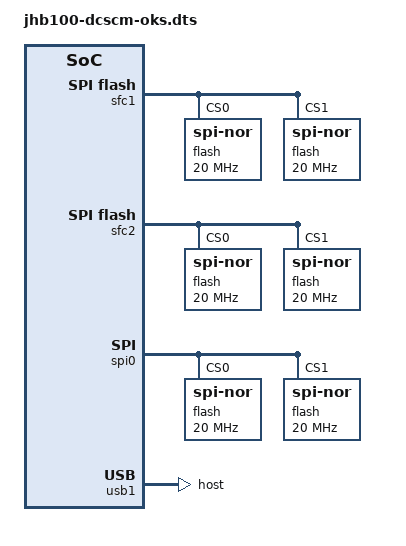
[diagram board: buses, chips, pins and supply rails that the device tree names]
// SPDX-License-Identifier: GPL-2.0 OR MIT
/*
 * Copyright (c) 2026 StarFive Technology Co., Ltd.
 */

#include "jhb100-dcscm.dtsi"
#include "jhb100-evb1-sfc0-flash.dtsi"

/ {
	chosen {
		stdout-path = "serial6:115200n8";
	};
};

&espi0 {
	starfive,vgpio_mode = <1>;
	gpio-line-names  =
										/* Output pins */
		"", "", "", "",							/* VGPIO0-3 */
		"VW_FM_DUAL_PARTITION_N", "VW_FM_STANDALONE_MODE_N",		/* VGPIO4-5 */
		"VW_FM_4S_8S_N_MODE", "VW_FM_NODE_ID_1",			/* VGPIO6-7 */
		"VW_FM_NODE_ID_0", "", "", "", "", "", "", "",			/* VGPIO8-15*/
		"", "", "", "",	"", "", "", "",					/* VGPIO16-23 */
		"", "", "", "",	"", "", "", "",					/* VGPIO23-31 */
										/* Input pins */
		"", "", "", "",							/* VGPIO32-35 */
		"VW_FM_BIOS_POST_CMPLT_N", "VW_CORE_BIOS_DONE_N", "", "",	/* VGPIO36-39 */
		"", "", "", "",	"", "", "", "",					/* VGPIO40-47 */
		"", "", "", "",	"", "", "", "",					/* VGPIO48-55 */
		"", "", "", "",	"", "", "", "";					/* VGPIO56-63 */
};

&espi1 {
	status = "disabled";
};

&espi1_mmbi {
	status = "disabled";
};

&gmac2 {
	status = "disabled";
};

&i2c4_master {
	status = "disabled";
};

&i2c5_master {
	status = "disabled";
};

&i2c8_master {
	status = "disabled";
};

&i3c4 {
	/* status = "okay"; */
};

&i3c5 {
	/* status = "okay"; */
};

&i3c8 {
	/* status = "okay"; */
};

&ltpi0 {
	nlgpio-number = /bits/ 16 <128>;

	llgpo0: virgpio@1000 {
		ngpios = <16>;
		gpo-init-value = <0x100>;
		status = "okay";
	};

	llgpi0: virgpio@1180 {
		ngpios = <16>;
		status = "okay";
	};

	nlgpo0: virgpio@2000 {
		ngpios = <128>;
		/* bit[31:0, 63:32, 95:64, 127,96] */
		gpo-init-value = <0x00400000 0x0E101300 0x03400800 0x0>;
		status = "okay";
	};

	nlgpi0: virgpio@2180 {
		ngpios = <128>;
		status = "okay";
	};
};

&ltpi1 {
	status = "disabled";
};

&pcie1_mctp {
	status = "disabled";
};

&pcie1_mmbi {
	status = "disabled";
};

&pcie_ep1 {
	status = "disabled";
};

&pinctrl_adc0 {
	gpio-line-names =
		"MUX_I3C14_EN_N", "MUX_I3C15_EN_N",			/* GPIOG0-1 */
		"BMC_MUX_I3C14_SEL", "BMC_MUX_I3C15_SEL",		/* GPIOG2-3 */
		"NC", "SPI_SCMCNTRL_IRQ0_R_N", "NC", "NC";		/* GPIOG4-7 */
};

&pinctrl_adc1 {
	gpio-line-names =
		"MUX_ROT_P0_EN_N", "MUX_ROT_P0_SEL",			/* GPIOH0-1 */
		"MUX_ROT_P1_EN_N", "MUX_ROT_P1_SEL",			/* GPIOH2-3 */
		"MUX_ROT_PROG_EN_N", "MUX_ROT_PROG_SEL", "NC", "NC";	/* GPIOH4-7 */
};

&pinctrl_bmcperiph0 {
	gpio-line-names =
		"I2C0_SCL", "I2C0_SDA", "I2C1_SCL", "I2C1_SDA",			/* GPIOB0-3 */
		"I2C2_SCL", "I2C2_SDA", "I2C3_SCL", "I2C3_SDA",			/* GPIOB4-7 */
		"I2C4_SCL", "I2C4_SDA", "I3C5_SCL", "I3C5_SDA",			/* GPIOB8-11 */
		"I2C6_SCL", "I2C6_SDA", "I2C7_SCL", "I2C7_SDA",			/* GPIOB12-15 */
		"I2C8_SCL", "I2C8_SDA", "NC", "NC",				/* GPIOB16-19 */
		"I2C10_SCL", "I2C10_SDA", "I2C11_SCL", "I2C11_SDA",		/* GPIOB20-23 */
		"I2C12_SCL", "I2C12_SDA", "I2C13_SCL", "I2C13_SDA",		/* GPIOB24-27 */
		"NC", "NC", "GMAC1_MDC", "GMAC1_MDIO",				/* GPIOB28-31 */
		"NC", "NC", "NC", "NC",						/* GPIOB32-35 */
		"NC", "NC", "NC", "NC",						/* GPIOB36-39 */
		"NC", "NC","NC", "NC",						/* GPIOB40-43 */
		"I3C0LV_SCL", "I3C0LV_SDA", "I3C1LV_SCL", "I3C1LV_SDA",		/* GPIOB44-47 */
		"NC", "NC", "NC", "NC",						/* GPIOB48-51 */
		"NC", "NC", "NC", "NC",						/* GPIOB52-55 */
		"NC", "NC", "NC", "NC";						/* GPIOB56-59 */

	gpioe-i3c0-vsel = <JHB100_VREF_1_8V>; /* VREF for GPIOB8-11, 32-33 */
	gpioe-i3c1-vsel = <JHB100_VREF_1_8V>; /* VREF for GPIOB12-15, 34-35 */
	gpioe-i3c2-vsel = <JHB100_VREF_1_8V>; /* VREF for GPIOB16-23 */
	gpioe-i3c4-vsel = <JHB100_VREF_1_8V>; /* VREF for GPIOB36-43 */
};

&pinctrl_bmcperiph1 {
	gpio-line-names =
		"SPI0_CS0", "SPI0_CS1", "SPI0_SCLK", "SPI0_TX",			/* GPIOC0-3 */
		"SPI0_RX", "SFC0_CS0", "SFC0_CS1", "SFC0_SCLK",			/* GPIOC4-7 */
		"SFC0_IO0", "SFC0_IO1", "SFC0_IO2", "SFC0_IO3",			/* GPIOC8-11 */
		"SFC1_CS0", "SFC1_CS1", "NC", "SFC1_SCLK",			/* GPIOC12-15 */
		"SFC1_IO0", "SFC1_IO1", "SFC1_IO2", "SFC1_IO3",			/* GPIOC16-19 */
		"SFC2_CS0", "SFC2_CS1", "NC", "SFC2_SCLK",			/* GPIOC20-23 */
		"SFC2_IO0", "SFC2_IO1", "SFC2_IO2", "SFC2_IO3",			/* GPIOC24-27 */
		"SGPIO0_CLK", "SGPIO0_LD", "SGPIO0_DO", "SGPIO0_DI",		/* GPIOC28-31 */
		"I2C14_SCL", "I2C14_SDA", "I2C15_SCL", "I2C15_SDA";		/* GPIOC32-35 */

	gpioe-spi-vsel = <JHB100_VREF_3_3V>; /* VREF for GPIOC0-4 */
	gpioe-qspi0-vsel = <JHB100_VREF_3_3V>; /* VREF for GPIOC5-11 */
	gpioe-qspi1-vsel = <JHB100_VREF_1_8V>; /* VREF for GPIOC12-19 */
	gpioe-qspi2-vsel = <JHB100_VREF_1_8V>; /* VREF for GPIOC20-27 */
};

&pinctrl_bmcperiph2 {
	gpio-line-names =
		"USB_PWR_EN", "GMAC1_PHY_INT_N",			/* GPIOD0-1 */
		"VGA_PWR_EN_R", "DP_PWR_EN_R",				/* GPIOD2-3 */
		"M_PESTI_RSVD", "ROT_RSVD_GPIO5",			/* GPIOD4-5 */
		"ROT_RSVD_GPIO6", "ROT_P1_RST_L",			/* GPIOD6-7 */
		"P1_RSTIND_BUF_L", "PROG_BMC_ROTGOLD_FW",		/* GPIOD8-9 */
		"PROG_CPU0_BIOS", "PROG_CPU1_BIOS",			/* GPIOD10-11 */
		"PROG_ROT_FW_FLASH", "RSVD_GPIO_PROG_CNTRL",		/* GPIOD12-13 */
		"ROT_BRD_ID0", "ROT_BRD_ID1",				/* GPIOD14-15 */
		"NC", "BMC_RSTIND_L", "NC", "GMAC2_RCLK",		/* GPIOD16-19 */
		"GMAC2_RXDV", "GMAC2_RXD0", "GMAC2_RXD1", "NC",		/* GPIOD20-23 */
		"NC", "NC", "GMAC2_TXEN", "GMAC2_TXD0",			/* GPIOD24-27 */
		"GMAC2_TXD1", "NC", "NC";				/* GPIOD28-30 */

	gpionw-vsel = <JHB100_VREF_3_3V>; /* VREF for GPIOD19-30 */
};

&pinctrl_bmcperiph2_pok {
	gpio-line-names =
		"NC", "NC", "NC", "NC",					/* GPIOD31-34 */
		"NC", "NC", "NC", "NC",					/* GPIOD35-38 */
		"NC", "NC", "NC", "NC",					/* GPIOD39-42 */
		"NC", "NC", "NC", "NC",					/* GPIOD43-46 */
		"NC", "NC";						/* GPIOD47-48 */
};

&pinctrl_bmcperiph3 {
	gpio-line-names =
		"GMAC0_MDC", "GMAC0_MDIO", "GMAC0_RXD1", "GMAC0_RXD0",		/* GPIOE0-3 */
		"GMAC0_RXDV", "NC", "GMAC0_TXEN", "GMAC0_TXD0",			/* GPIOE4-7 */
		"GMAC0_TXD1", "GMAC0_RCLKI", "GMAC0_RCLKO";			/* GPIOE8-11 */

	gpios-vsel = <JHB100_VREF_3_3V>; /* VREF for GPIOE0-10 */
};

&pinctrl_emmc {
	gpio-line-names =
		"EMMC0_CLK", "EMMC0_RST", "EMMC0_CMD", "EMMC0_DQS",		/* GPIOF0-3 */
		"EMMC0_DATA0", "EMMC0_DATA1", "EMMC0_DATA2", "EMMC0_DATA3",	/* GPIOF4-7 */
		"EMMC0_DATA4", "EMMC0_DATA5", "EMMC0_DATA6", "EMMC0_DATA7";	/* GPIOF8-11 */
};

&pinctrl_sys0 {
	gpio-line-names =
		"NC", "NC", "HB_LED", "PE2_RSTOUT_N";		/* GPIOA0-3 */
};

&pinctrl_sys0h {
	gpio-line-names =
		"ESPI0_IO0", "ESPI0_IO1", "ESPI0_IO2", "ESPI0_IO3",		/* GPIOA4-7 */
		"ESPI0_CLK", "ESPI0_CS", "ESPI0_ALERT", "ESPI0_RESET",		/* GPIOA8-11 */
		"NC", "NC", "NC", "NC";						/* GPIOA12-15 */
};

&pinctrl_sys1 {
	gpio-line-names =
		"ESPI1_IO0", "ESPI1_IO1", "ESPI1_IO2", "ESPI1_IO3",		/* GPIOA16-19 */
		"ESPI1_CLK", "ESPI1_CS", "ESPI1_ALERT", "ESPI1_RESET";		/* GPIOA20-23 */
};

&pinctrl_sys2 {
	gpio-line-names =
		"NC", "P0_RSTIND_BUF_L", "NC", "NC",				/* GPIOA24-27 */
		"UART1_TX", "UART1_RX", "UART2_TX", "UART2_RX",			/* GPIOA28-31 */
		"NC", "NC", "UART4_TX", "UART4_RX",				/* GPIOA32-35 */
		"UART5_TX", "UART5_RX", "UART6_TX", "UART6_RX",			/* GPIOA36-39 */
		"MUX_ROT_UART_EN_N", "MUX_ROT_UART_SEL",			/* GPIOA40-41 */
		"FM_HPM_STBY_RST_N", "FM_HPM_STBY_EN",				/* GPIOA42-43 */
		"ROT_RSVD_GPIO11", "NC",					/* GPIOA44-45 */
		"ROT_RSVD_GPIO13", "HPM_SCM_STBY_RDY",				/* GPIOA46-47 */
		"INTRUDER_CLR_N", "INTRUDER_DET",				/* GPIOA48-49 */
		"NC", "DBP_ASD_SCM_PRDY_LVC3_R_N",				/* GPIOA50-51 */
		"NC", "NC", "NC", "NC",						/* GPIOA52-55 */
		"NC", "NC", "BMC_SELF_KILL", "ROT_P0_RST_L",			/* GPIOA56-59 */
		"NC";								/* GPIOA60 */

	gpiow-vsel = <JHB100_VREF_3_3V>; /* VREF for GPIOA36-43 */
};

&pinctrl_vga_vdac {
	gpio-line-names =
		"VGA_HSYNC", "VGA_VSYNC", "VGA_DDC_CLK", "VGA_DDC_DAT";		/* GPIOI0-3 */
};

&sfc0 {
	rx-sample-delay-ns = <10>;
};

&sfc1 {
	rx-sample-delay-ns = <10>;

	flash@0 {
		compatible = "jedec,spi-nor";
		reg = <0>;
		spi-max-frequency = <20000000>;
		spi-tx-bus-width = <4>;
		spi-rx-bus-width = <4>;
	};

	flash@1 {
		compatible = "jedec,spi-nor";
		reg = <1>;
		spi-max-frequency = <20000000>;
		spi-tx-bus-width = <4>;
		spi-rx-bus-width = <4>;
	};
};

&sfc2 {
	rx-sample-delay-ns = <10>;

	flash@0 {
		compatible = "jedec,spi-nor";
		reg = <0>;
		spi-max-frequency = <20000000>;
		spi-tx-bus-width = <4>;
		spi-rx-bus-width = <4>;
	};

	flash@1 {
		compatible = "jedec,spi-nor";
		reg = <1>;
		spi-max-frequency = <20000000>;
		spi-tx-bus-width = <4>;
		spi-rx-bus-width = <4>;
	};
};

&sgpio0 {
	/* SGPIO lines: Each IO number in pairs (input, output) */
	gpio-line-names =
	/* 0-1 */	"CPU0_VRHOT_N", "LED_POSTCODE_0_LSB", "CPU0_THERMTRIP_N", "LED_POSTCODE_1",
	/* 2-3 */	"CPU0_MEMTRIP_N", "LED_POSTCODE_2", "CPU0_MEM_VRHOT_N", "LED_POSTCODE_3",
	/* 4-5 */	"CPU0_MEM_HOT_N", "LED_POSTCODE_4", "CPU0_MON_FAIL_N", "LED_POSTCODE_5",
	/* 6-7 */	"CPU1_VRHOT_N", "LED_POSTCODE_6", "CPU1_THERMTRIP_N", "LED_POSTCODE_7_MSB",
	/* 8-9 */	"CPU1_MEMTRIP_N", "FM_ASYNC_WARM_RESET_REQ", "CPU1_MEM_VRHOT_N", "HPM_FRU_READ_DONE",
	/* 10-11 */	"CPU1_MEM_HOT_N", "FM_ASYNC_GLOBAL_RESET_REQ", "CPU1_MON_FAIL_N", "BMC_BOOT_DONE",
	/* 12-13 */	"CPU2_VRHOT_N", "NMI_OUT", "CPU2_THERMTRIP_N", "AGGREGATOR_MODE",
	/* 14-15 */	"CPU2_MEMTRIP_N", "RST_I3C_PCIE_HUB_N", "CPU2_MEM_VRHOT_N", "",
	/* 16-17 */	"CPU2_MEM_HOT_N", "HPM0_PRESENT", "CPU2_MON_FAIL_N", "HPM1_PRESENT",
	/* 18-19 */	"CPU3_VRHOT_N", "HPM2_PRESENT", "CPU3_THERMTRIP_N", "HPM3_PRESENT",
	/* 20-21 */	"CPU3_MEMTRIP_N", "HPM0_SOURCE_TO_DESTINATION_FAIL", "CPU3_MEM_VRHOT_N", "HPM1_SOURCE_TO_DESTINATION_FAIL",
	/* 22-23 */	"CPU3_MEM_HOT_N", "HPM2_SOURCE_TO_DESTINATION_FAIL", "CPU3_MON_FAIL_N", "HPM3_SOURCE_TO_DESTINATION_FAIL",
	/* 24-25 */	"FM_BMC_VAL_EN", "HPM0_FRU_VALID", "FM_SERIAL_BOOT", "HPM1_FRU_VALID",
	/* 26-27 */	"FM_INTRUSION_CABLE_PRES_N", "HPM2_FRU_VALID", "USB_OC_P2_3_N", "HPM3_FRU_VALID",
	/* 28-29 */	"FM_SYSTEM_COOLING_MODE0", "FM_S2D_DISCOVERY_DONE", "FM_SYSTEM_COOLING_MODE1", "",
	/* 30-31 */	"", "", "", "",
	/* 32-33 */	"DBP_PMODE_S0_PWROK", "", "DBP_PMODE_PLTRST", "",
	/* 34-35 */	"DBP_PMODE_GLOBALRESET", "", "DBP_PMODE_CPU_PWRGD", "",
	/* 36-37 */	"FM_SMBUS_RDY", "", "FM_LEAK_DETECTION", "",
	/* 38-39 */	"FM_LEAK_CBL_PRSNT_N", "", "FM_LEAK_CBL_FAULT_N", "",
	/* 40-41 */	"CPU0_SKTOCC1_N", "CPU0_SKT_FAULT_LED", "CPU0_SKTOCC2_N", "CPU1_SKT_FAULT_LED",
	/* 42-43 */	"CPU0_MISMATCH", "CPU2_SKT_FAULT_LED", "CPU1_SKTOCC1_N", "CPU3_SKT_FAULT_LED",
	/* 44-45 */	"CPU1_SKTOCC2_N", "", "CPU1_MISMATCH", "",
	/* 46-47 */	"CPU2_SKTOCC1_N", "", "CPU2_SKTOCC2_N", "",
	/* 48-49 */	"CPU2_MISMATCH", "", "CPU3_SKTOCC1_N", "",
	/* 50-51 */	"CPU3_SKTOCC2_N", "", "CPU3_MISMATCH", "",
	/* 52-53 */	"HPM0_PRSNT_N", "", "HPM1_PRSNT_N", "",
	/* 54-55 */	"HPM2_PRSNT_N", "", "HPM3_PRSNT_N", "",
	/* 56-57 */	"", "", "", "",
	/* 58-59 */	"", "", "", "",
	/* 60-61 */	"", "", "", "",
	/* 62-63 */	"", "", "", "",
	/* 64-65 */	"", "", "", "",
	/* 66-67 */	"", "", "", "",
	/* 68-69 */	"", "", "", "",
	/* 70-71 */	"", "", "", "",
	/* 72-73 */	"", "", "", "",
	/* 74-75 */	"", "", "", "",
	/* 76-77 */	"", "", "", "",
	/* 78-79 */	"", "", "", "",
	/* 80-81 */	"FM_BOARD_REV_ID0", "", "FM_BOARD_REV_ID1", "",
	/* 82-83 */	"FM_BOARD_REV_ID2", "", "FM_BOARD_SKU_ID0", "",
	/* 84-85 */	"FM_BOARD_SKU_ID1", "", "FM_BOARD_SKU_ID2", "",
	/* 86-87 */	"FM_BOARD_SKU_ID3", "", "FM_BOARD_SKU_ID4", "",
	/* 88-89 */	"FM_BOARD_SKU_ID5", "", "FM_BOARD_SKU_ID6", "",
	/* 90-91 */	"FM_BOARD_SKU_ID7", "", "", "",
	/* 92-93 */	"", "", "", "",
	/* 94-95 */	"", "", "", "",
	/* 96-97 */	"", "", "", "",
	/* 98-99 */	"", "", "", "",
	/* 100-101 */	"", "", "", "",
	/* 102-103 */	"", "", "", "",
	/* 104-105 */	"", "", "", "",
	/* 106-107 */	"", "", "", "",
	/* 108-109 */	"", "", "", "",
	/* 110-111 */	"", "", "", "",
	/* 112-113 */	"", "", "", "",
	/* 114-115 */	"", "", "", "",
	/* 116-117 */	"", "", "", "",
	/* 118-119 */	"", "", "", "",
	/* 120-121 */	"", "", "", "",
	/* 122-123 */	"", "", "", "",
	/* 124-125 */	"", "", "", "",
	/* 126-127 */	"", "", "", "";
};

&sio1 {
	status = "disabled";
};

&spi0 {
	rx-sample-delay-ns = <15>;

	flash@0 {
		compatible = "jedec,spi-nor";
		spi-max-frequency = <20000000>;
		reg = <0>;
		spi-tx-bus-width = <1>;
		spi-rx-bus-width = <1>;
	};

	flash@1 {
		compatible = "jedec,spi-nor";
		spi-max-frequency = <20000000>;
		reg = <1>;
		spi-tx-bus-width = <1>;
		spi-rx-bus-width = <1>;
	};
};

&uart_routing {
	starfive,chsel = /bits/ 8 <0 0 0 0 0 0 0 0 0 0 0 0 0 0 0>;
	pinctrl-names = "default";
	pinctrl-0 = <&uart1_pins &uart2_pins>;
};

&usb1 {
	dr_mode = "host";
};

&vce1 {
	status = "disabled";
};
